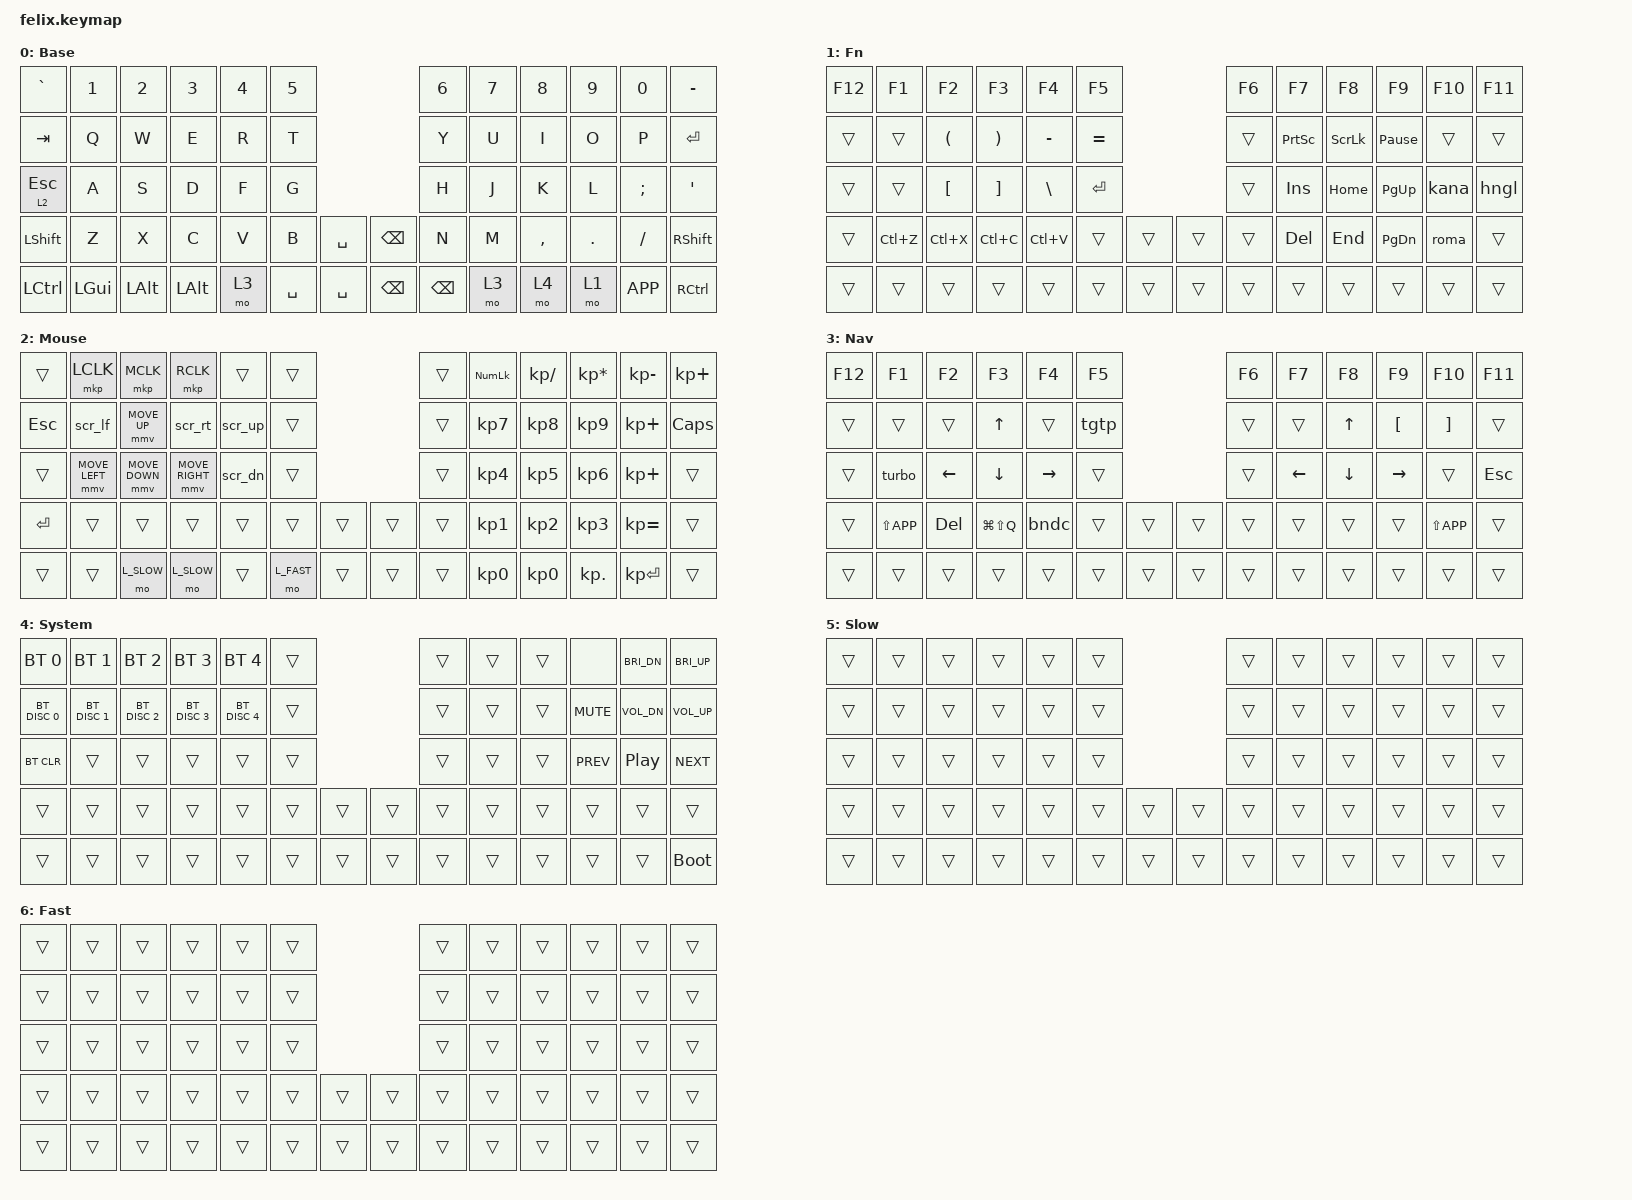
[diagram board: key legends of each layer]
/*
 * Felix keymap, ported from the Preonic QMK keymap
 * (qmk_userspace/keyboards/preonic/keymaps/eg).
 *
 * SPDX-License-Identifier: MIT
 */

/* Mouse speed. QMK used MOUSEKEY_MOVE_DELTA 1 / MAX_SPEED 30 / TIME_TO_MAX 40.
 * Must be defined before pointing.h is included. Tune on the real board. */
#define ZMK_POINTING_DEFAULT_MOVE_VAL 1500
#define ZMK_POINTING_DEFAULT_SCRL_VAL 10

/* Speed of &msc_tap, which sends the single wheel notch on press (see scr_* macros).
 * &msc only emits once its 16ms ticks add up to a whole notch, so at SCRL_VAL 10 a tap
 * shorter than ~110ms never scrolls. 70/s gives 1.12 notches on the first tick, and the
 * macro releases it after 20ms, before the second tick. */
#define SCRL_STEP 70

#include <behaviors.dtsi>
#include <input/processors.dtsi>
#include <dt-bindings/zmk/keys.h>
#include <dt-bindings/zmk/bt.h>
#include <dt-bindings/zmk/pointing.h>

#define L0 0
#define L1 1
#define L2 2
#define L3 3
#define L4 4
#define L_SLOW 5
#define L_FAST 6

&mmv {
    time-to-max-speed-ms = <400>;
    acceleration-exponent = <1>;
};

/* QMK MS_ACL0 / MS_ACL2: hold the key on L2 to slow down / speed up the pointer and wheel. */
&mmv_input_listener {
    slow {
        layers = <L_SLOW>;
        input-processors = <&zip_xy_scaler 1 4>;
    };
    fast {
        layers = <L_FAST>;
        input-processors = <&zip_xy_scaler 2 1>;
    };
};

&msc_input_listener {
    slow {
        layers = <L_SLOW>;
        input-processors = <&zip_scroll_scaler 1 2>;
    };
    fast {
        layers = <L_FAST>;
        input-processors = <&zip_scroll_scaler 2 1>;
    };
};

/ {
    behaviors {
        /* Mouse turbo click: left click repeats while held, double tap locks.
         * Implemented in src/behaviors/behavior_turbo_click.c. */
        turbo: turbo {
            compatible = "zmk,behavior-turbo-click";
            #binding-cells = <0>;
            bindings = <&mkp LCLK>;
            period-ms = <80>;
            tap-ms = <20>;
            lock-tap-ms = <200>;
        };

        /* Sends exactly one wheel notch per short tap. Used by the scr_* macros. */
        msc_tap: msc_tap {
            compatible = "zmk,behavior-input-two-axis";
            #binding-cells = <1>;
            x-input-code = <INPUT_REL_HWHEEL>;
            y-input-code = <INPUT_REL_WHEEL>;
            time-to-max-speed-ms = <0>;
            acceleration-exponent = <0>;
        };
    };

    /* Each two-axis behavior needs its own listener for its events to reach the host. */
    msc_tap_input_listener: msc_tap_input_listener {
        compatible = "zmk,input-listener";
        device = <&msc_tap>;
    };

    macros {
        /* Scroll keys (QMK MS_WHLU/WHLD/WHLL/WHLR): one notch right away like QMK,
         * then normal &msc scrolling while held. */
        scr_up: scr_up {
            compatible = "zmk,behavior-macro";
            #binding-cells = <0>;
            wait-ms = <0>;
            tap-ms = <20>;
            bindings
                = <&macro_tap &msc_tap MOVE_Y(SCRL_STEP)>
                , <&macro_press &msc SCRL_UP>
                , <&macro_pause_for_release>
                , <&macro_release &msc SCRL_UP>;
        };

        scr_dn: scr_dn {
            compatible = "zmk,behavior-macro";
            #binding-cells = <0>;
            wait-ms = <0>;
            tap-ms = <20>;
            bindings
                = <&macro_tap &msc_tap MOVE_Y(-SCRL_STEP)>
                , <&macro_press &msc SCRL_DOWN>
                , <&macro_pause_for_release>
                , <&macro_release &msc SCRL_DOWN>;
        };

        scr_lf: scr_lf {
            compatible = "zmk,behavior-macro";
            #binding-cells = <0>;
            wait-ms = <0>;
            tap-ms = <20>;
            bindings
                = <&macro_tap &msc_tap MOVE_X(-SCRL_STEP)>
                , <&macro_press &msc SCRL_LEFT>
                , <&macro_pause_for_release>
                , <&macro_release &msc SCRL_LEFT>;
        };

        scr_rt: scr_rt {
            compatible = "zmk,behavior-macro";
            #binding-cells = <0>;
            wait-ms = <0>;
            tap-ms = <20>;
            bindings
                = <&macro_tap &msc_tap MOVE_X(SCRL_STEP)>
                , <&macro_press &msc SCRL_RIGHT>
                , <&macro_pause_for_release>
                , <&macro_release &msc SCRL_RIGHT>;
        };

        /* Bandicam capture: Ctrl+Shift+Alt+S, with S held for 100ms */
        bndc: bndc {
            compatible = "zmk,behavior-macro";
            #binding-cells = <0>;
            wait-ms = <10>;
            tap-ms = <20>;
            bindings
                = <&macro_press &kp LCTRL &kp LSHFT &kp LALT>
                , <&macro_tap &kp S>
                , <&macro_release &kp LALT &kp LSHFT &kp LCTRL>;
        };

        /* Toggle always on top: Ctrl+Win+T, with T held for 100ms */
        tgtp: tgtp {
            compatible = "zmk,behavior-macro";
            #binding-cells = <0>;
            wait-ms = <10>;
            tap-ms = <20>;
            bindings
                = <&macro_press &kp LCTRL &kp LGUI>
                , <&macro_tap &kp T>
                , <&macro_release &kp LGUI &kp LCTRL>;
        };

        /* IME Kana: Ctrl+Shift+1, then Lang1 */
        kana: kana {
            compatible = "zmk,behavior-macro";
            #binding-cells = <0>;
            wait-ms = <10>;
            tap-ms = <20>;
            bindings
                = <&macro_press &kp LCTRL &kp LSHFT>
                , <&macro_tap &kp N1>
                , <&macro_release &kp LSHFT &kp LCTRL>
                , <&macro_tap &kp LANG1>;
        };

        /* IME Romaji: Ctrl+Shift+1, then Lang2 */
        roma: roma {
            compatible = "zmk,behavior-macro";
            #binding-cells = <0>;
            wait-ms = <10>;
            tap-ms = <20>;
            bindings
                = <&macro_press &kp LCTRL &kp LSHFT>
                , <&macro_tap &kp N1>
                , <&macro_release &kp LSHFT &kp LCTRL>
                , <&macro_tap &kp LANG2>;
        };

        /* IME Hangul: Ctrl+Shift+1, Lang1, then Ctrl+Shift+2 */
        hngl: hngl {
            compatible = "zmk,behavior-macro";
            #binding-cells = <0>;
            wait-ms = <10>;
            tap-ms = <20>;
            bindings
                = <&macro_press &kp LCTRL &kp LSHFT>
                , <&macro_tap &kp N1>
                , <&macro_release &kp LSHFT &kp LCTRL>
                , <&macro_tap &kp LANG1>
                , <&macro_press &kp LCTRL &kp LSHFT>
                , <&macro_tap &kp N2>
                , <&macro_release &kp LSHFT &kp LCTRL>;
        };
    };

    keymap {
        compatible = "zmk,keymap";

/* LAYER 0 - base
 * +------+------+------+------+------+------+             +------+------+------+------+------+------+
 * |   `  |   1  |   2  |   3  |   4  |   5  |             |   6  |   7  |   8  |   9  |   0  |  -   |
 * +------+------+------+------+------+------+             +------+------+------+------+------+------+
 * | Tab  |   Q  |   W  |   E  |   R  |   T  |             |   Y  |   U  |   I  |   O  |   P  |Enter |
 * +------+------+------+------+------+------+             +------+------+------+------+------+------+
 * | 2|Esc|   A  |   S  |   D  |   F  |   G  |             |   H  |   J  |   K  |   L  |   ;  |   '  |
 * +------+------+------+------+------+------+------+------+------+------+------+------+------+------+
 * | Shft |   Z  |   X  |   C  |   V  |   B  | Spc  | Bksp |   N  |   M  |   ,  |   .  |   /  | Shft |
 * +------+------+------+------+------+------+------+------+------+------+------+------+------+------+
 * | Ctrl | Gui  | Alt  | Alt  | MO(3)| Spc  | Spc  | Bksp | Bksp | MO(3)| MO(4)| MO(1)| App  | Ctrl |
 * +------+------+------+------+------+------+------+------+------+------+------+------+------+------+
 */
        layer0 {
            display-name = "Base";
            bindings = <
&kp GRAVE        &kp N1           &kp N2           &kp N3           &kp N4           &kp N5                                             &kp N6           &kp N7           &kp N8           &kp N9           &kp N0           &kp MINUS
&kp TAB          &kp Q            &kp W            &kp E            &kp R            &kp T                                              &kp Y            &kp U            &kp I            &kp O            &kp P            &kp ENTER
&lt L2 ESC       &kp A            &kp S            &kp D            &kp F            &kp G                                              &kp H            &kp J            &kp K            &kp L            &kp SEMI         &kp SQT
&kp LSHFT        &kp Z            &kp X            &kp C            &kp V            &kp B            &kp SPACE        &kp BSPC         &kp N            &kp M            &kp COMMA        &kp DOT          &kp FSLH         &kp RSHFT
&kp LCTRL        &kp LGUI         &kp LALT         &kp LALT         &mo L3           &kp SPACE        &kp SPACE        &kp BSPC         &kp BSPC         &mo L3           &mo L4           &mo L1           &kp K_APP        &kp RCTRL
            >;
        };

/* LAYER 1 - function / navigation
 * +------+------+------+------+------+------+             +------+------+------+------+------+------+
 * | F12  |  F1  |  F2  |  F3  |  F4  |  F5  |             |  F6  |  F7  |  F8  |  F9  | F10  | F11  |
 * +------+------+------+------+------+------+             +------+------+------+------+------+------+
 * |      |      |  (   |  )   |  -   |  =   |             |      |PrtScn|ScrLk | Paus |      |      |
 * +------+------+------+------+------+------+             +------+------+------+------+------+------+
 * |      |      |  [   |  ]   |  \   |Enter |             |      | Ins  | Home | PgUp | KANA | HNGL |
 * +------+------+------+------+------+------+------+------+------+------+------+------+------+------+
 * |      |Ctrl+Z|Ctrl+X|Ctrl+C|Ctrl+V|      |      |      |      | Del  | End  | PgDn | ROMA |      |
 * +------+------+------+------+------+------+------+------+------+------+------+------+------+------+
 * |      |      |      |      |      |      |      |      |      |      |      |      |      |      |
 * +------+------+------+------+------+------+------+------+------+------+------+------+------+------+
 */
        layer1 {
            display-name = "Fn";
            bindings = <
&kp F12          &kp F1           &kp F2           &kp F3           &kp F4           &kp F5                                             &kp F6           &kp F7           &kp F8           &kp F9           &kp F10          &kp F11
&trans           &trans           &kp LPAR         &kp RPAR         &kp MINUS        &kp EQUAL                                          &trans           &kp PSCRN        &kp SLCK         &kp PAUSE_BREAK  &trans           &trans
&trans           &trans           &kp LBKT         &kp RBKT         &kp BSLH         &kp ENTER                                          &trans           &kp INS          &kp HOME         &kp PG_UP        &kana            &hngl
&trans           &kp LC(Z)        &kp LC(X)        &kp LC(C)        &kp LC(V)        &trans           &trans           &trans           &trans           &kp DEL          &kp END          &kp PG_DN        &roma            &trans
&trans           &trans           &trans           &trans           &trans           &trans           &trans           &trans           &trans           &trans           &trans           &trans           &trans           &trans
            >;
        };

/* LAYER 2 - mouse / numpad
 * +------+------+------+------+------+------+             +------+------+------+------+------+------+
 * |      | MS B1| MS B3| MS B2|      |      |             |      | #Lk  |   /  |   *  |  -   |  +   |
 * +------+------+------+------+------+------+             +------+------+------+------+------+------+
 * | Esc  |WH Lft|MS Up |WH Rgt|WH Up |      |             |      |  7   |  8   |  9   |  +   | Caps |
 * +------+------+------+------+------+------+             +------+------+------+------+------+------+
 * |      |MS Lft|MS Dwn|MS Rgt|WH Dwn|      |             |      |  4   |  5   |  6   |  +   |      |
 * +------+------+------+------+------+------+------+------+------+------+------+------+------+------+
 * |Enter |      |      |      |      |      |      |      |      |  1   |  2   |  3   |  =   |      |
 * +------+------+------+------+------+------+------+------+------+------+------+------+------+------+
 * |      |      | Slow | Slow |      | Fast |      |      |      |  0   |  0   |  .   | Entr |      |
 * +------+------+------+------+------+------+------+------+------+------+------+------+------+------+
 */
        layer2 {
            display-name = "Mouse";
            bindings = <
&trans           &mkp LCLK        &mkp MCLK        &mkp RCLK        &trans           &trans                                             &trans           &kp KP_NUM       &kp KP_DIVIDE    &kp KP_MULTIPLY  &kp KP_MINUS     &kp KP_PLUS
&kp ESC          &scr_lf          &mmv MOVE_UP     &scr_rt          &scr_up          &trans                                             &trans           &kp KP_N7        &kp KP_N8        &kp KP_N9        &kp KP_PLUS      &kp CAPS
&trans           &mmv MOVE_LEFT   &mmv MOVE_DOWN   &mmv MOVE_RIGHT  &scr_dn          &trans                                             &trans           &kp KP_N4        &kp KP_N5        &kp KP_N6        &kp KP_PLUS      &trans
&kp ENTER        &trans           &trans           &trans           &trans           &trans           &trans           &trans           &trans           &kp KP_N1        &kp KP_N2        &kp KP_N3        &kp KP_EQUAL     &trans
&trans           &trans           &mo L_SLOW       &mo L_SLOW       &trans           &mo L_FAST       &trans           &trans           &trans           &kp KP_N0        &kp KP_N0        &kp KP_DOT       &kp KP_ENTER     &trans
            >;
        };

/* LAYER 3 - arrows / shortcuts
 * +------+------+------+------+------+------+             +------+------+------+------+------+------+
 * | F12  |  F1  |  F2  |  F3  |  F4  |  F5  |             |  F6  |  F7  |  F8  |  F9  | F10  | F11  |
 * +------+------+------+------+------+------+             +------+------+------+------+------+------+
 * |      |      |      |  Up  |      | TGTP |             |      |      |  Up  |  [   |  ]   |      |
 * +------+------+------+------+------+------+             +------+------+------+------+------+------+
 * |      |TURBO | Left | Down |Right |      |             |      | Left | Down |Right |      | Esc  |
 * +------+------+------+------+------+------+------+------+------+------+------+------+------+------+
 * |      |SMenu | Del  | SHRX | BNDC |      |      |      |      |      |      |      |SMenu |      |
 * +------+------+------+------+------+------+------+------+------+------+------+------+------+------+
 * |      |      |      |      |      |      |      |      |      |      |      |      |      |      |
 * +------+------+------+------+------+------+------+------+------+------+------+------+------+------+
 */
        layer3 {
            display-name = "Nav";
            bindings = <
&kp F12          &kp F1           &kp F2           &kp F3           &kp F4           &kp F5                                             &kp F6           &kp F7           &kp F8           &kp F9           &kp F10          &kp F11
&trans           &trans           &trans           &kp UP           &trans           &tgtp                                              &trans           &trans           &kp UP           &kp LBKT         &kp RBKT         &trans
&trans           &turbo           &kp LEFT         &kp DOWN         &kp RIGHT        &trans                                             &trans           &kp LEFT         &kp DOWN         &kp RIGHT        &trans           &kp ESC
&trans           &kp LS(K_APP)    &kp DEL          &kp LG(LS(Q))    &bndc            &trans           &trans           &trans           &trans           &trans           &trans           &trans           &kp LS(K_APP)    &trans
&trans           &trans           &trans           &trans           &trans           &trans           &trans           &trans           &trans           &trans           &trans           &trans           &trans           &trans
            >;
        };

/* LAYER 4 - media / system
 * +------+------+------+------+------+------+             +------+------+------+------+------+------+
 * | BT0  | BT1  | BT2  | BT3  | BT4  |      |             |      |      |      |      | Brt- | Brt+ |
 * +------+------+------+------+------+------+             +------+------+------+------+------+------+
 * |Dsc0  |Dsc1  |Dsc2  |Dsc3  |Dsc4  |      |             |      |      |      | Mute | Vol- | Vol+ |
 * +------+------+------+------+------+------+             +------+------+------+------+------+------+
 * |BTClr |      |      |      |      |      |             |      |      |      | Prev |Ply/Ps| Next |
 * +------+------+------+------+------+------+------+------+------+------+------+------+------+------+
 * |      |      |      |      |      |      |      |      |      |      |      |      |      |      |
 * +------+------+------+------+------+------+------+------+------+------+------+------+------+------+
 * |      |      |      |      |      |      |      |      |      |      |      |      |      |Boot  |
 * +------+------+------+------+------+------+------+------+------+------+------+------+------+------+
 */
        layer4 {
            display-name = "System";
            bindings = <
&bt BT_SEL 0     &bt BT_SEL 1     &bt BT_SEL 2     &bt BT_SEL 3     &bt BT_SEL 4     &trans                                             &trans           &trans           &trans           &none            &kp C_BRI_DN     &kp C_BRI_UP
&bt BT_DISC 0    &bt BT_DISC 1    &bt BT_DISC 2    &bt BT_DISC 3    &bt BT_DISC 4    &trans                                             &trans           &trans           &trans           &kp C_MUTE       &kp C_VOL_DN     &kp C_VOL_UP
&bt BT_CLR       &trans           &trans           &trans           &trans           &trans                                             &trans           &trans           &trans           &kp C_PREV       &kp C_PP         &kp C_NEXT
&trans           &trans           &trans           &trans           &trans           &trans           &trans           &trans           &trans           &trans           &trans           &trans           &trans           &trans
&trans           &trans           &trans           &trans           &trans           &trans           &trans           &trans           &trans           &trans           &trans           &trans           &trans           &bootloader
            >;
        };

        /* Held via &mo L_SLOW on L2. Scales the pointer and wheel down (QMK MS_ACL0). */
        layer_slow {
            display-name = "Slow";
            bindings = <
&trans  &trans  &trans  &trans  &trans  &trans                  &trans  &trans  &trans  &trans  &trans  &trans
&trans  &trans  &trans  &trans  &trans  &trans                  &trans  &trans  &trans  &trans  &trans  &trans
&trans  &trans  &trans  &trans  &trans  &trans                  &trans  &trans  &trans  &trans  &trans  &trans
&trans  &trans  &trans  &trans  &trans  &trans  &trans  &trans  &trans  &trans  &trans  &trans  &trans  &trans
&trans  &trans  &trans  &trans  &trans  &trans  &trans  &trans  &trans  &trans  &trans  &trans  &trans  &trans
            >;
        };

        /* Held via &mo L_FAST on L2. Scales the pointer and wheel up (QMK MS_ACL2). */
        layer_fast {
            display-name = "Fast";
            bindings = <
&trans  &trans  &trans  &trans  &trans  &trans                  &trans  &trans  &trans  &trans  &trans  &trans
&trans  &trans  &trans  &trans  &trans  &trans                  &trans  &trans  &trans  &trans  &trans  &trans
&trans  &trans  &trans  &trans  &trans  &trans                  &trans  &trans  &trans  &trans  &trans  &trans
&trans  &trans  &trans  &trans  &trans  &trans  &trans  &trans  &trans  &trans  &trans  &trans  &trans  &trans
&trans  &trans  &trans  &trans  &trans  &trans  &trans  &trans  &trans  &trans  &trans  &trans  &trans  &trans
            >;
        };
    };
};
